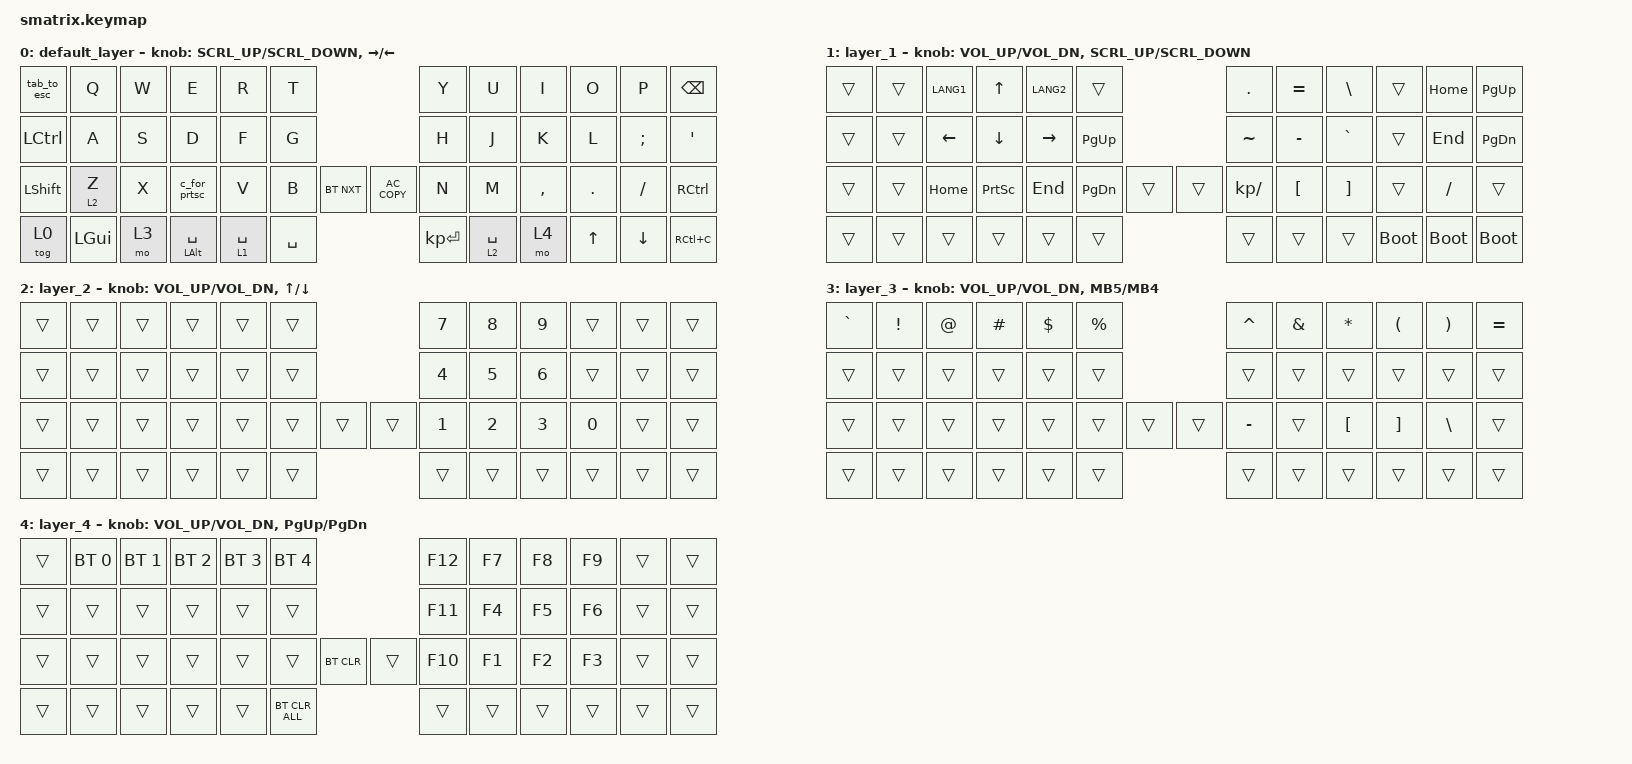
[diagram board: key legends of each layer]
#define ZMK_POINTING_DEFAULT_MOVE_VAL 800
#define ZMK_POINTING_DEFAULT_SCRL_VAL 120

#include <input/processors.dtsi>
#include <zephyr/dt-bindings/input/input-event-codes.h>
#include <behaviors.dtsi>
#include <dt-bindings/zmk/bt.h>
#include <dt-bindings/zmk/keys.h>
#include <dt-bindings/zmk/pointing.h>

&mt {
    flavor = "balanced";
    quick-tap-ms = <0>;
};

&msc {
    delay-ms = <0>;
    trigger-period-ms = <10>;
    time-to-max-speed-ms = <0>;
    acceleration-exponent = <0>;
};

/ {
    input_processors {
        zip_wheel_scaler: zip_wheel_scaler {
            compatible = "zmk,input-processor-scaler";
            #input-processor-cells = <2>;
            type = <INPUT_EV_REL>;
            codes = <INPUT_REL_WHEEL>;
            track-remainders;
        };
    };
};

&msc_input_listener {
    warp {
        layers = <0>;
        input-processors = <&zip_wheel_scaler 4 1>;
    };

    precision {
        layers = <1>;
        input-processors = <&zip_wheel_scaler 1 2>;
    };
};

/ {
    behaviors {
        rot_kp: sensor_rotate_kp {
            compatible = "zmk,behavior-sensor-rotate-var";
            #sensor-binding-cells = <2>;
            bindings = <&kp>, <&kp>;
        };

        td_lang: td-lang {
            compatible = "zmk,behavior-tap-dance";
            label = "TD_LANG";
            #binding-cells = <0>;

            // 連打の締切を調整。200ms前後が標準。遅い/速いと感じたら微調整。

            tapping-term-ms = <220>;

            // 単タップ → LANG1、ダブルタップ → LANG2

            bindings = <&kp LANG1>, <&kp LANG2>;
        };

        mouse_click: mouse_button_kp {
            compatible = "zmk,behavior-sensor-rotate-var";
            #sensor-binding-cells = <2>;
            bindings = <&mkp>, <&mkp>;
        };

        mouse_scrl: mouse_wheel_scrl {
            compatible = "zmk,behavior-sensor-rotate-var";
            #sensor-binding-cells = <2>;
            bindings = <&msc>, <&msc>;

            tap-ms = <10>;
        };

        c_for_prtsc: c_for_prtsc {
            compatible = "zmk,behavior-tap-dance";
            label = "C_FOR_PRTSC";
            #binding-cells = <0>;
            bindings = <&kp C>, <&kp PRINTSCREEN>;
        };

        tab_to_esc: tab_to_esc {
            compatible = "zmk,behavior-tap-dance";
            label = "TAB_TO_ESC";
            #binding-cells = <0>;
            bindings = <&kp TAB>, <&kp ESC>;
        };

        // Z: タップ → Z / ホールド → Layer 2 (テンキー)
        // 高速タイプで誤爆する場合は tapping-term-ms / quick-tap-ms を調整

        ht_z: hold_tap_z {
            compatible = "zmk,behavior-hold-tap";
            label = "HT_Z";
            #binding-cells = <2>;
            flavor = "balanced";
            tapping-term-ms = <200>;
            quick-tap-ms = <150>;
            bindings = <&mo>, <&kp>;
        };
    };

    keymap {
        compatible = "zmk,keymap";

        // ── Layer 0: Default (VIAL adapted) ─────────────────────────────
        default_layer {
            bindings = <
&tab_to_esc  &kp Q       &kp W     &kp E           &kp R        &kp T                                   &kp Y         &kp U        &kp I      &kp O       &kp P      &kp BACKSPACE
&kp LCTRL    &kp A       &kp S     &kp D           &kp F        &kp G                                   &kp H         &kp J        &kp K      &kp L       &kp SEMI   &kp SQT
&kp LSHFT    &ht_z 2 Z   &kp X     &c_for_prtsc    &kp V        &kp B      &bt BT_NXT    &kp C_AC_COPY  &kp N         &kp M        &kp COMMA  &kp PERIOD  &kp SLASH  &kp RCTRL
&tog 0       &kp LGUI    &mo 3     &mt LALT SPACE  &lt 1 SPACE  &kp SPACE                               &kp KP_ENTER  &lt 2 SPACE  &mo 4      &kp UP      &kp DOWN   &kp RC(C)
            >;

            sensor-bindings =
                <&mouse_scrl SCRL_UP SCRL_DOWN>,
                <&rot_kp RIGHT LEFT>;
        };

        // ── Layer 1: Raise / MO(1) — nav + symbols ──────────────────────
        layer_1 {
            bindings = <
&trans  &trans  &kp LANG1  &kp UP            &kp LANG2  &trans                       &kp DOT        &kp EQUAL  &kp BSLH      &trans       &kp HOME   &kp PG_UP
&trans  &trans  &kp LEFT   &kp DOWN          &kp RIGHT  &kp PG_UP                    &kp TILDE      &kp MINUS  &kp GRAVE     &trans       &kp END    &kp PG_DN
&trans  &trans  &kp HOME   &kp PRINTSCREEN   &kp END    &kp PG_DN  &trans    &trans  &kp KP_DIVIDE  &kp LBKT   &kp RBKT      &trans       &kp SLASH  &trans
&trans  &trans  &trans     &trans            &trans     &trans                       &trans         &trans     &trans        &bootloader  &bootloader  &bootloader
            >;

            sensor-bindings = <&rot_kp C_VOL_UP C_VOL_DN    &mouse_scrl SCRL_UP SCRL_DOWN>;
        };

        // ── Layer 2: Numpad — Z hold ────────────────────────────────────
        layer_2 {
            bindings = <
&trans  &trans  &trans  &trans  &trans  &trans                    &kp N7  &kp N8  &kp N9  &trans  &trans  &trans
&trans  &trans  &trans  &trans  &trans  &trans                    &kp N4  &kp N5  &kp N6  &trans  &trans  &trans
&trans  &trans  &trans  &trans  &trans  &trans  &trans    &trans  &kp N1  &kp N2  &kp N3  &kp N0  &trans  &trans
&trans  &trans  &trans  &trans  &trans  &trans                    &trans  &trans  &trans  &trans  &trans  &trans
            >;

            sensor-bindings = <&rot_kp C_VOL_UP C_VOL_DN>, <&rot_kp UP DOWN>;
        };

        // ── Layer 3: Lower / MO(3) — symbols ────────────────────────────
        layer_3 {
            bindings = <
&kp GRAVE  &kp EXCL  &kp AT  &kp HASH  &kp DLLR  &kp PRCNT                    &kp CARET  &kp AMPS  &kp STAR  &kp LPAR  &kp RPAR   &kp EQUAL
&trans     &trans    &trans  &trans    &trans    &trans                       &trans     &trans    &trans    &trans    &trans     &trans
&trans     &trans    &trans  &trans    &trans    &trans  &trans     &trans    &kp MINUS  &trans    &kp LBKT  &kp RBKT  &kp BSLH   &trans
&trans     &trans    &trans  &trans    &trans    &trans                       &trans     &trans    &trans    &trans    &trans     &trans
            >;

            sensor-bindings = <&rot_kp C_VOL_UP C_VOL_DN    &mouse_click MB5 MB4>;
        };

        layer_4 {
            bindings = <
&trans  &bt BT_SEL 0  &bt BT_SEL 1  &bt BT_SEL 2  &bt BT_SEL 3  &bt BT_SEL 4                          &kp F12  &kp F7  &kp F8  &kp F9  &trans  &trans
&trans  &trans        &trans        &trans        &trans        &trans                                &kp F11  &kp F4  &kp F5  &kp F6  &trans  &trans
&trans  &trans        &trans        &trans        &trans        &trans          &bt BT_CLR    &trans  &kp F10  &kp F1  &kp F2  &kp F3  &trans  &trans
&trans  &trans        &trans        &trans        &trans        &bt BT_CLR_ALL                        &trans   &trans  &trans  &trans  &trans  &trans
            >;

            sensor-bindings = <&rot_kp C_VOL_UP C_VOL_DN    &rot_kp PG_UP PG_DN>;
        };
    };
};
